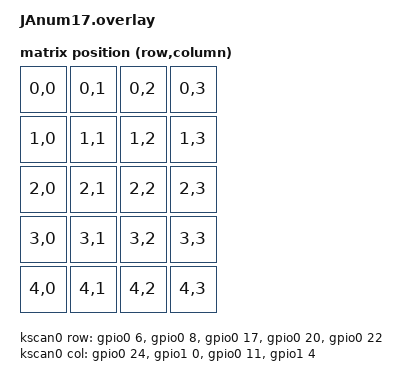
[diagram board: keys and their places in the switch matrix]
#include <dt-bindings/zmk/matrix_transform.h>
#include <dt-bindings/gpio/gpio.h>

/ {
    chosen {
        zmk,kscan = &kscan0;
        zmk,matrix_transform = &default_transform;
    };

    default_transform: keymap_transform_0 {
        compatible = "zmk,matrix-transform";
        rows = <5>;
        columns = <4>;

        /*
         * Full 5x4 logical matrix.
         * Use &none in the keymap for spots that do not have a physical switch.
         */
        map = <
            RC(0,0) RC(0,1) RC(0,2) RC(0,3)
            RC(1,0) RC(1,1) RC(1,2) RC(1,3)
            RC(2,0) RC(2,1) RC(2,2) RC(2,3)
            RC(3,0) RC(3,1) RC(3,2) RC(3,3)
            RC(4,0) RC(4,1) RC(4,2) RC(4,3)
        >;
    };

  kscan0: kscan_0 {
        compatible = "zmk,kscan-gpio-matrix";
        label = "KSCAN";

        /* If standard active-high doesn't work, change this to "row2col" */
        diode-direction = "col2row";

        /* Rows R0-R4: inputs with pull-downs */
        row-gpios = <
            &gpio0 6  (GPIO_ACTIVE_HIGH | GPIO_PULL_DOWN)
            &gpio0 8  (GPIO_ACTIVE_HIGH | GPIO_PULL_DOWN)
            &gpio0 17 (GPIO_ACTIVE_HIGH | GPIO_PULL_DOWN)
            &gpio0 20 (GPIO_ACTIVE_HIGH | GPIO_PULL_DOWN)
            &gpio0 22 (GPIO_ACTIVE_HIGH | GPIO_PULL_DOWN)
        >;

        /* Columns C0-C3: driven outputs */
        col-gpios = <
            &gpio0 24 GPIO_ACTIVE_HIGH
            &gpio1 0  GPIO_ACTIVE_HIGH
            &gpio0 11 GPIO_ACTIVE_HIGH
            &gpio1 4  GPIO_ACTIVE_HIGH
        >;
    };
};
